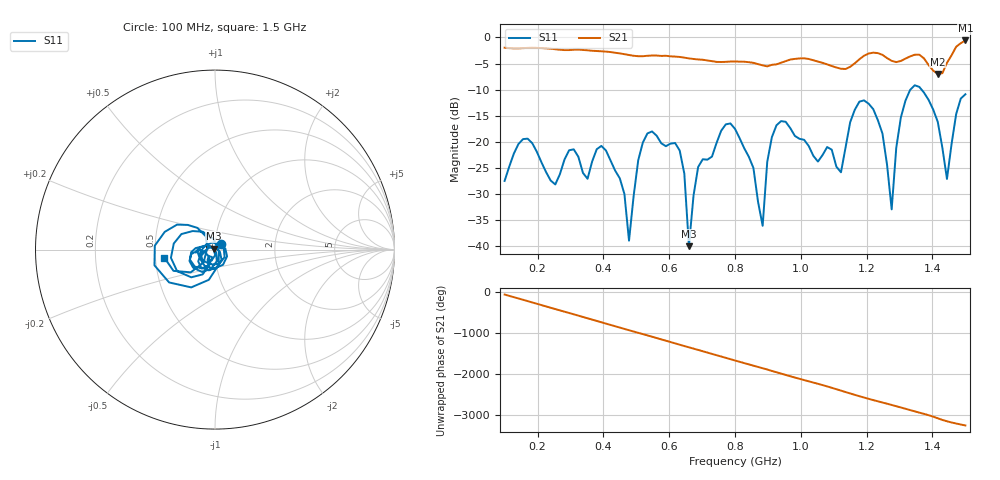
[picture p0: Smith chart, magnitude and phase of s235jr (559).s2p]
! NanoVNA-App
! Date: 2025-09-25 15:08:31
! Start: 100MHz Stop: 1,5GHz Points: 101
! S-Parameter data: F S11 S21 S12 S22
# Hz S RI R 50
!  Frequency  S11_Real  S11_Imag  S21_Real  S21_Imag  S12_Real  S12_Imag  S22_Real  S22_Imag
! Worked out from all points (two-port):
!   101 points, 100 MHz to 1.5 GHz, reference 50 ohm
!   highest |S21| = -0.58 dB at 1.5 GHz (marker M1); lowest = -7.0 dB at 1.416 GHz (marker M2)
!   |S21| within 3 dB of the highest: start of sweep to 503.6 MHz; 522.4 MHz to 598.8 MHz (76.41 MHz wide, 13.6 % of centre) (the widest 2 of 5)
!   lowest |S11| = -40.0 dB at 660 MHz (marker M3), VSWR 1.02, Z = 49.2 + j0.569 ohm
!   |S11| at or under -10 dB: start of sweep to 1.333 GHz; 1.367 GHz to end of sweep
!   S12 and S22 are empty: the file has one direction only
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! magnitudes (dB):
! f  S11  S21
! 100 MHz  -27.5  -2.0
! 156 MHz  -19.5  -2.0
! 338 MHz  -25.9  -2.4
! 408 MHz  -21.7  -2.7
! 478 MHz  -38.9  -3.4
! 520 MHz  -20.1  -3.6
! 576 MHz  -20.3  -3.5
! 632 MHz  -21.7  -3.7
! 660 MHz  -40.0  -4.0
! 688 MHz  -24.8  -4.2
! 800 MHz  -17.5  -4.6
! 884 MHz  -36.1  -5.3
! 926 MHz  -16.8  -5.2
! 1.038 GHz  -22.7  -4.4
! 1.122 GHz  -25.8  -6.0
! 1.192 GHz  -12.0  -3.5
! 1.248 GHz  -18.4  -3.3
! 1.276 GHz  -32.9  -4.5
! 1.332 GHz  -10.0  -3.6
! 1.416 GHz  -16.2  -7.0
! 1.444 GHz  -27.1  -4.9
! 1.5 GHz  -10.9  -0.6
